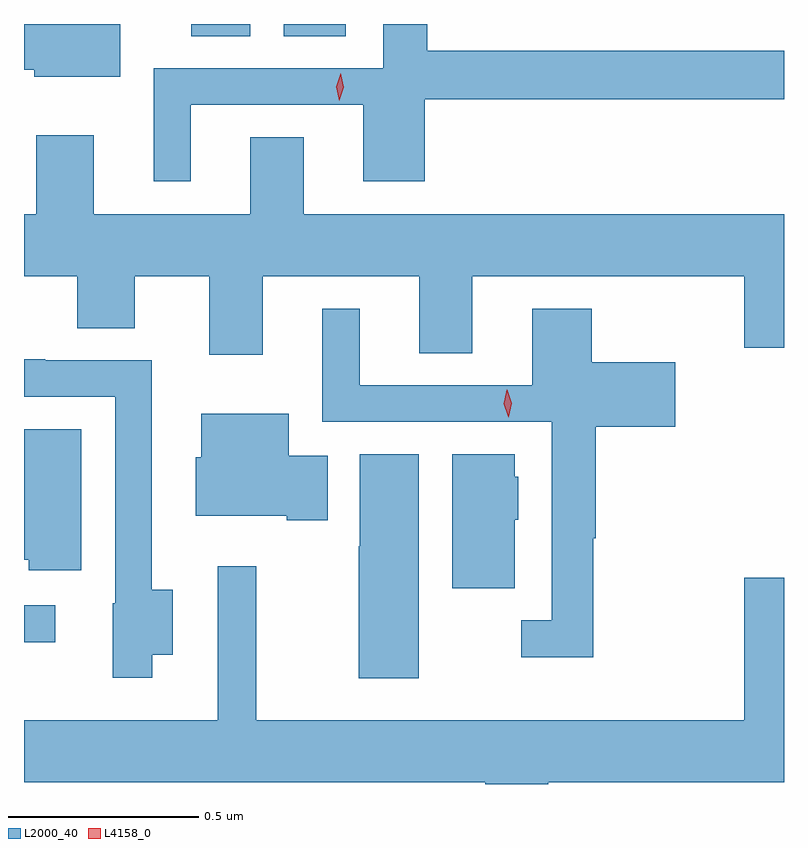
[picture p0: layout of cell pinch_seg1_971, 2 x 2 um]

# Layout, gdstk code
import gdstk
lib = gdstk.Library(unit=1e-6, precision=1e-09)
def R(c, l, rs):  # rectangles x0, y0, x1, y1
    for r in rs: c.add(gdstk.rectangle(r[:2], r[2:], *l))
def P(c, l, *ps):  # polygons
    for p in ps: c.add(gdstk.Polygon(p, *l))
L2000_40 = (2000, 40)
L4158_0 = (4158, 0)

pinch_seg1_971 = lib.new_cell('pinch_seg1_971')
R(pinch_seg1_971, L2000_40, [(211.065,578.741,211.147,578.838), (211.505,580.336,211.66,580.368), (211.748,580.336,211.912,580.368)])
P(pinch_seg1_971, L2000_40, [(211.318,580.368),(211.065,580.368),(211.065,580.247),(211.092,580.247),(211.092,580.229),(211.318,580.229)],
  [(211.504,580.155),(211.958,580.155),(211.958,579.954),(212.12,579.954),(212.12,580.17),(213.065,580.17),(213.065,580.298),(212.126,580.298),(212.126,580.368),(212.01,580.368),(212.01,580.251),(211.406,580.251),(211.406,579.954),(211.504,579.954)],
  [(211.693,579.704),(212.105,579.704),(212.105,579.502),(212.245,579.502),(212.245,579.704),(212.96,579.704),(212.96,579.516),(213.065,579.516),(213.065,579.868),(211.801,579.868),(211.801,580.07),(211.661,580.07),(211.661,579.868),(211.249,579.868),(211.249,580.075),(211.097,580.075),(211.097,579.868),(211.065,579.868),(211.065,579.704),(211.205,579.704),(211.205,579.568),(211.357,579.568),(211.357,579.704),(211.553,579.704),(211.553,579.498),(211.693,579.498)],
  [(212.563,579.015),(212.57,579.015),(212.57,579.308),(212.779,579.308),(212.779,579.478),(212.559,579.478),(212.559,579.619),(212.402,579.619),(212.402,579.417),(211.948,579.417),(211.948,579.619),(211.85,579.619),(211.85,579.321),(212.454,579.321),(212.454,578.799),(212.373,578.799),(212.373,578.702),(212.563,578.702)],
  [(211.402,578.708),(211.456,578.708),(211.456,578.879),(211.401,578.879),(211.401,579.483),(211.121,579.483),(211.121,579.486),(211.065,579.486),(211.065,579.387),(211.305,579.387),(211.305,578.844),(211.298,578.844),(211.298,578.648),(211.402,578.648)],
  [(211.864,579.232),(211.762,579.232),(211.762,579.343),(211.532,579.343),(211.532,579.228),(211.517,579.228),(211.517,579.074),(211.757,579.074),(211.757,579.062),(211.864,579.062)],
  [(211.216,579.302),(211.065,579.302),(211.065,578.958),(211.077,578.958),(211.077,578.931),(211.216,578.931)],
  [(212.104,579.236),(211.949,579.236),(211.949,578.994),(211.946,578.994),(211.946,578.646),(212.104,578.646)],
  [(212.356,579.063),(212.365,579.063),(212.365,579.177),(212.356,579.177),(212.356,579.236),(212.192,579.236),(212.192,578.883),(212.356,578.883)],
  [(212.444,578.372),(213.065,578.372),(213.065,578.911),(212.96,578.911),(212.96,578.536),(211.676,578.536),(211.676,578.941),(211.575,578.941),(211.575,578.536),(211.065,578.536),(211.065,578.372),(212.279,578.372),(212.279,578.368),(212.444,578.368)])
P(pinch_seg1_971, L4158_0, [(212.34,579.333),(212.339,579.334),(212.328,579.369),(212.336,579.405),(212.336,579.405),(212.337,579.405),(212.348,579.37),(212.34,579.334)],
  [(211.895,580.166),(211.895,580.166),(211.887,580.203),(211.898,580.239),(211.898,580.239),(211.899,580.239),(211.907,580.202),(211.895,580.166)])

lib.write_gds('pinch_seg1_971.gds')
